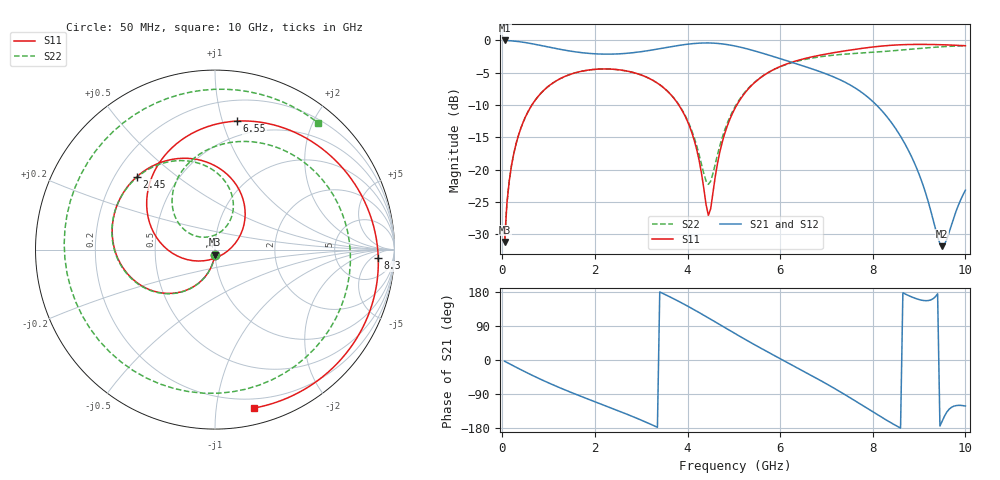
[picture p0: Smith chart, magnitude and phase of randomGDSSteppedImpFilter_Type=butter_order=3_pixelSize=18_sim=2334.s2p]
! freq	dB(S11)	phase(S11)	dB(S12)	phase(S12)
!  dB(S21)	phase(S21)	dB(S22)	phase(S22)
!S-par simulation data
#  GHz  S  DB  R 50
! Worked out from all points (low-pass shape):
!   200 points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, 50 MHz to 10 GHz, reference 50 ohm
!   highest |S21| = -0.01 dB at 50 MHz (marker M1); lowest = -31.9 dB at 9.5 GHz (marker M2)
!   |S21| within 3 dB of the highest: start of sweep to 6.082 GHz
!   lowest |S11| = -31.2 dB at 50 MHz (marker M3), VSWR 1.06, Z = 49.8 - j2.74 ohm
!   |S11| at or under -10 dB: start of sweep to 640.3 MHz; 3.81 GHz to 5.065 GHz (1.255 GHz wide, 28.3 % of centre)
!   |S22| runs from -31.2 to -0.8 dB; largest |S21 - S12| = 0
!   S11 on the Smith chart (normalised r, x): 50 MHz: 1.00, -0.05; 2.45 GHz: 0.29, +0.36; 6.55 GHz: 0.37, +1.12; 8.3 GHz: 16, -9; 10 GHz: 0.12, -1.27
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0.05  -31.21 -93.4  -0.01 -3.3  -0.01 -3.3  -31.21 -93.3
0.2  -19.32 -103.4  -0.07 -12.9  -0.07 -12.9  -19.32 -103.3
0.5  -11.85 -122.3  -0.34 -31.7  -0.34 -31.7  -11.85 -122.1
1.05  -6.80 -154.0  -1.10 -63.2  -1.10 -63.2  -6.81 -153.4
1.75  -4.72 170.6  -1.93 -98.3  -1.93 -98.3  -4.73 171.8
2.45  -4.50 137.2  -2.11 -131.4  -2.11 -131.4  -4.51 139.5
3.4  -6.87 86.9  -1.29 179.5  -1.29 179.5  -6.86 93.3
4.05  -13.44 40.7  -0.55 139.0  -0.55 139.0  -13.21 63.8
4.45  -27.11 -60.0  -0.40 111.1  -0.40 111.1  -22.29 105.0
4.75  -15.75 -159.8  -0.54 89.5  -0.54 89.5  -15.03 147.7
5.05  -10.19 172.3  -0.91 68.0  -0.91 68.0  -9.98 137.2
5.75  -4.95 124.7  -2.27 20.0  -2.27 20.0  -4.94 92.3
6.55  -2.78 80.3  -4.08 -32.5  -4.08 -32.5  -2.92 32.9
6.7  -2.53 72.7  -4.44 -42.5  -4.44 -42.5  -2.72 20.6
7.2  -1.85 48.3  -5.79 -77.0  -5.79 -77.0  -2.25 -24.7
7.7  -1.30 24.8  -7.74 -113.9  -7.74 -113.9  -1.98 -77.5
8  -1.02 10.9  -9.46 -136.7  -9.46 -136.7  -1.84 -112.2
8.3  -0.81 -3.0  -11.77 -159.0  -11.77 -159.0  -1.69 -147.7
8.35  -0.78 -5.3  -12.22 -162.6  -12.22 -162.6  -1.66 -153.6
8.8  -0.63 -25.7  -17.46 168.5  -17.46 168.5  -1.38 156.1
9.5  -0.67 -55.7  -31.87 -161.0  -31.87 -161.0  -0.98 90.2
10  -0.83 -76.1  -23.20 -121.5  -23.20 -121.5  -0.82 51.0
